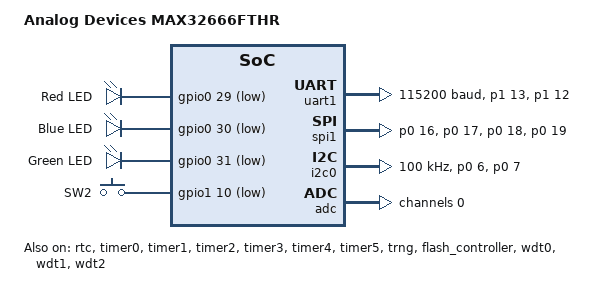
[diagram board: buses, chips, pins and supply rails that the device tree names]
/*
 * Copyright (c) 2023 Analog Devices, Inc.
 *
 * SPDX-License-Identifier: Apache-2.0
 */

/dts-v1/;

 #include <adi/max32666.dtsi>
 #include <adi/max32666-pinctrl.dtsi>

/ {
	 model = "Analog Devices MAX32666FTHR";
	 compatible = "adi,max32666fthr";

	 chosen {
		 zephyr,console = &uart1;
		 zephyr,shell-uart = &uart1;
		 zephyr,sram = &sram0;
		 zephyr,flash = &flash0;
	 };

	 leds {
		 compatible = "gpio-leds";
		 led1: led_1 {
			 gpios = <&gpio0 29 GPIO_ACTIVE_LOW>;
			 label = "Red LED";
		 };
		 led2: led_2 {
			 gpios = <&gpio0 30 GPIO_ACTIVE_LOW>;
			 label = "Blue LED";
		 };
		 led3: led_3 {
			 gpios = <&gpio0 31 GPIO_ACTIVE_LOW>;
			 label = "Green LED";
		 };
	 };

	 buttons {
		 compatible = "gpio-keys";
		 pb1: pb1 {
			 gpios = <&gpio1 10 (GPIO_PULL_UP | GPIO_ACTIVE_LOW)>;
			 label = "SW2";
		 };
	 };

	 /* These aliases are provided for compatibility with samples */
	 aliases {
		led0 = &led1;
		led1 = &led2;
		led2 = &led3;
		sw0 = &pb1;
		rtc = &rtc;
	 };
};

&uart1 {
	pinctrl-0 = <&uart1_tx_p1_13 &uart1_rx_p1_12>;
	pinctrl-names = "default";
	current-speed = <115200>;
	parity = "none";
	status = "okay";
};

&spi1 {
	pinctrl-0 = <&spi1_ss0_p0_16 &spi1_mosi_p0_17
		     &spi1_miso_p0_18 &spi1_sck_p0_19>;
	pinctrl-names = "default";
	status = "okay";
};

&i2c0 {
	pinctrl-0 = <&i2c0_scl_p0_6 &i2c0_sda_p0_7>;
	pinctrl-names = "default";
	clock-frequency = <I2C_BITRATE_STANDARD>;
	status = "okay";
};

&rtc {
	status = "okay";
	alarms-count = <1>;
};

&timer0 {
	status = "okay";
};

&timer1 {
	status = "okay";
};

&timer2 {
	status = "okay";
};

&timer3 {
	status = "okay";
};

&timer4 {
	status = "okay";
};

&timer5 {
	status = "okay";
};

&trng {
	status = "okay";
};

&flash_controller {
	status = "okay";
};

&flash0 {
	partitions {
		compatible = "fixed-partitions";
		#address-cells = <1>;
		#size-cells = <1>;

		code_partition: partition@0 {
			reg = <0x0 0x40000>;
			read-only;
		};

		storage_partition: partition@40000 {
			label = "storage";
			reg = <0x40000 0x40000>;
		};
	};
};

&adc {
	status = "okay";
	io-channels = <&adc 0>;
	#address-cells = <1>;
	#size-cells = <0>;

	channel@0 {
		reg = <0>;
		zephyr,gain = "ADC_GAIN_1";
		zephyr,reference = "ADC_REF_VDD_1";
		zephyr,acquisition-time = <ADC_ACQ_TIME_DEFAULT>;
		zephyr,resolution = <10>;
		zephyr,vref-mv = <1220>;
	};
};

&wdt0 {
	status = "okay";
};

&wdt1 {
	status = "okay";
};

&wdt2 {
	status = "okay";
};

&dma0 {
	status = "okay";
};

&dma1 {
	status = "okay";
};

&clk_ipo {
	status = "okay";
};

/*
 * ERTCO requires for RTC
 */
&clk_ertco {
	status = "okay";
};
